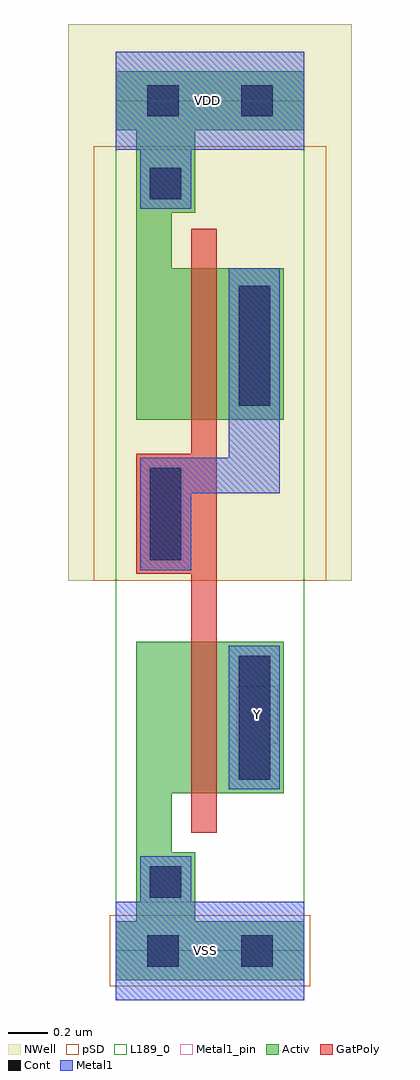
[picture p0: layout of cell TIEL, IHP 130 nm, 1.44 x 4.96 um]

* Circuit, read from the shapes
.subckt TIEL VDD VSS Y
XM1 Y n1 VSS VSS sg13_lv_nmos w=0.77u l=0.13u
XM2 n1 n1 VDD VDD sg13_lv_pmos w=0.77u l=0.13u
.ends

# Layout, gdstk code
import gdstk
lib = gdstk.Library(unit=1e-6, precision=1e-09)
def R(c, l, rs):  # rectangles x0, y0, x1, y1
    for r in rs: c.add(gdstk.rectangle(r[:2], r[2:], *l))
def P(c, l, *ps):  # polygons
    for p in ps: c.add(gdstk.Polygon(p, *l))
Activ = (1, 0)
GatPoly = (5, 0)
Cont = (6, 0)
Metal1 = (8, 0)
Metal1_pin = (8, 2)
pSD = (14, 0)
NWell = (31, 0)
L189_0 = (189, 0)

tiel = lib.new_cell('TIEL')
P(tiel, Activ, [(0.105,2.7),(0.105,4.17),(0,4.17),(0,4.47),(0.96,4.47),(0.96,4.17),(0.405,4.17),(0.405,3.75),(0.285,3.75),(0.285,3.47),(0.855,3.47),(0.855,2.7)],
  [(0,-0.15),(0,0.15),(0.105,0.15),(0.105,1.57),(0.855,1.57),(0.855,0.8),(0.285,0.8),(0.285,0.5),(0.405,0.5),(0.405,0.15),(0.96,0.15),(0.96,-0.15)])
P(tiel, GatPoly, [(0.385,0.6),(0.385,1.915),(0.105,1.915),(0.105,2.525),(0.385,2.525),(0.385,3.67),(0.515,3.67),(0.515,0.6)])
R(tiel, Cont, [(0.16,-0.08,0.32,0.08), (0.64,-0.08,0.8,0.08), (0.175,0.27,0.335,0.43), (0.625,0.87,0.785,1.5), (0.175,1.985,0.335,2.455), (0.625,2.77,0.785,3.38), (0.175,3.82,0.335,3.98), (0.16,4.24,0.32,4.4), (0.64,4.24,0.8,4.4)])
R(tiel, Metal1, [(0.575,0.82,0.835,1.55)])
P(tiel, Metal1, [(0.125,1.935),(0.125,2.505),(0.385,2.505),(0.575,2.505),(0.575,2.75),(0.575,3.47),(0.835,3.47),(0.835,2.72),(0.835,2.325),(0.385,2.325),(0.385,1.935)],
  [(0.125,3.77),(0.125,4.07),(0,4.07),(0,4.57),(0.96,4.57),(0.96,4.07),(0.385,4.07),(0.385,3.77)],
  [(0,-0.25),(0,0.25),(0.125,0.25),(0.125,0.48),(0.385,0.48),(0.385,0.25),(0.96,0.25),(0.96,-0.25)])
R(tiel, Metal1_pin, [(0,-0.25,0.96,0.25), (0.615,1.055,0.825,1.345), (0,4.07,0.96,4.57)])
R(tiel, pSD, [(-0.03,-0.18,0.99,0.18), (-0.11,1.88,1.07,4.09)])
R(tiel, NWell, [(-0.24,1.88,1.2,4.71)])
R(tiel, L189_0, [(0,0,0.96,4.32)])
tiel.add(gdstk.Label('Y', (0.72,1.2), layer=8, texttype=25))
tiel.add(gdstk.Label('VSS', (0.455,0), layer=8, texttype=25))
tiel.add(gdstk.Label('VDD', (0.465,4.32), layer=8, texttype=25))

lib.write_gds('TIEL.gds')
